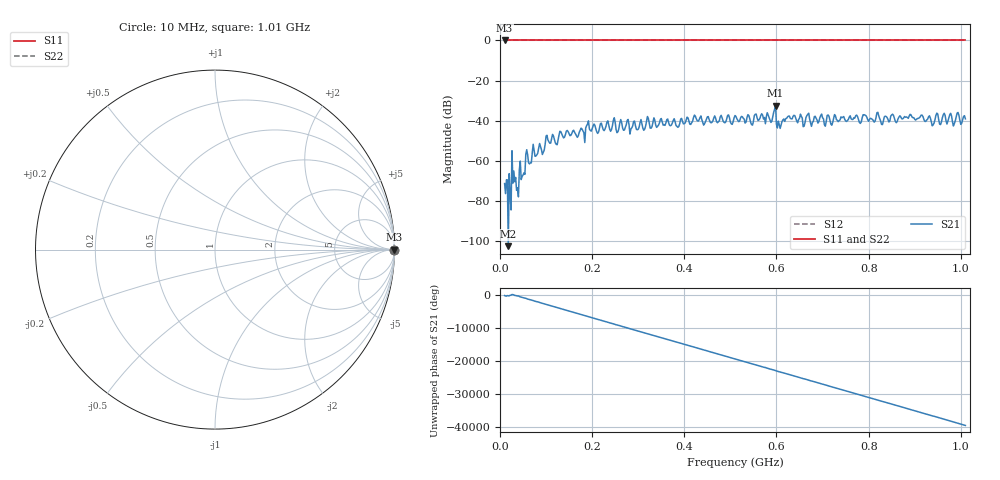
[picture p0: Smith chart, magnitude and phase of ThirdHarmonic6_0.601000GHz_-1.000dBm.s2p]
! 8/15/2025 7:37:31 PM
! C:\ANRITSUVNA\TEMP\TEMP.S2P
! CHANNEL.1
! TR.MEASUREMENT
! RAW.DATA
! RF.CORRECTION.OFF
! AVERAGING.OFF
! IF.BANDWIDTH: 5KHZ
! SWEEPTYPE:  FREQ.SWEEP(Linear)
! Reference Plane Port Info
! PORT:  PORT1  PORT2
! DISTANCE:  0  m  0  m
! TIME:  0  s  0  s
! PHASE.OFFSET:  0  deg.  0  deg.
! LOSS:  0  dB  0  dB
! REF.LOSS:  0  dB  0  dB
! REF.FREQ:  0  Hz  0  Hz
! Power Info
! POWER:  -20  dBm  -20  dBm
! EFF.POWER:  -20  dBm  -20  dBm
! SOURCE.ATTEN:  0  dB  0  dB
! TEST.ATTEN:  0  dB  0  dB
# GHZ S RI R 50.0
! FREQ.GHZ  S11RE  S11IM  S21RE  S21IM  S12RE  S12IM  S22RE  S22IM
!; PortSelection: Port_12
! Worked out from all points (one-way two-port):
!   501 points, 10 MHz to 1.01 GHz, reference 50 ohm
!   highest |S21| = -32.51 dB at 598 MHz (marker M1); lowest = -102.5 dB at 18 MHz (marker M2)
!   lowest |S11| = 0.0 dB at 10 MHz (marker M3)
!   |S11| at or under -10 dB: nowhere
!   |S22| runs from 0.0 to 0.0 dB; largest |S21 - S12| = 1
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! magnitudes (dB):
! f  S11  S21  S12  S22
! 10 MHz  0.0  -71.3  0.0  0.0
! 18 MHz  0.0  -102.5  0.0  0.0
! 20 MHz  0.0  -66.4  0.0  0.0
! 30 MHz  0.0  -65.1  0.0  0.0
! 36 MHz  0.0  -74.7  0.0  0.0
! 46 MHz  0.0  -69.4  0.0  0.0
! 50 MHz  0.0  -67.1  0.0  0.0
! 60 MHz  0.0  -57.0  0.0  0.0
! 94 MHz  0.0  -55.7  0.0  0.0
! 102 MHz  0.0  -47.3  0.0  0.0
! 122 MHz  0.0  -51.8  0.0  0.0
! 132 MHz  0.0  -45.4  0.0  0.0
! 178 MHz  0.0  -44.1  0.0  0.0
! 344 MHz  0.0  -42.2  0.0  0.0
! 510 MHz  0.0  -37.4  0.0  0.0
! 546 MHz  0.0  -42.0  0.0  0.0
! 598 MHz  0.0  -32.5  0.0  0.0
! 604 MHz  0.0  -40.2  0.0  0.0
! 624 MHz  0.0  -38.1  0.0  0.0
! 678 MHz  0.0  -40.8  0.0  0.0
! 844 MHz  0.0  -40.6  0.0  0.0
! 1.01 GHz  0.0  -39.1  0.0  0.0
